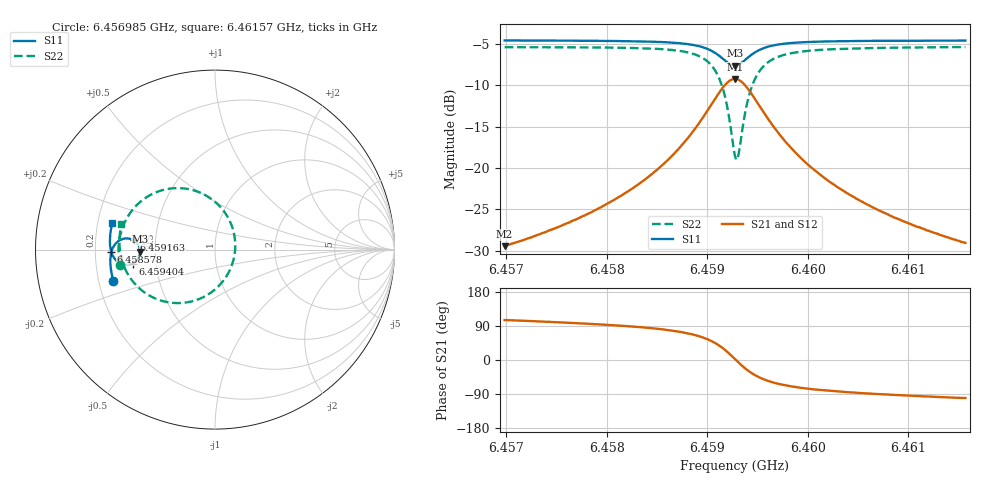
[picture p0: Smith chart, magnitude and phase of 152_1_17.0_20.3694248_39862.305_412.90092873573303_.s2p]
#  HZ  S  RI  R  50.00
! Rohde & Schwarz Vector Network Analyzer
! Rohde-Schwarz,ZNB20-2Port,1311601062101988,3.16
! Created: UTC 3/20/2024, 10:58:53 PM
! freq[Hz]  re:S11  im:S11  re:S21  im:S21  re:S12  im:S12  re:S22  im:S22
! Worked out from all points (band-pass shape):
!   401 points, 6.456985 GHz to 6.46157 GHz, reference 50 ohm
!   highest |S21| = -9.21 dB at 6.459278 GHz (marker M1); lowest = -29.4 dB at 6.456985 GHz (marker M2)
!   |S21| within 3 dB of the highest: 6.459048 GHz to 6.459507 GHz (458.9 kHz wide, 0.0071 % of centre)
!   lowest |S11| = -7.6 dB at 6.459278 GHz (marker M3), VSWR 2.43, Z = 20.6 - j0.58 ohm
!   |S11| at or under -10 dB: nowhere
!   |S22| runs from -19.0 to -5.3 dB; largest |S21 - S12| = 0.014
!   S11 on the Smith chart (normalised r, x): 6.456985 GHz: 0.26, -0.14; 6.458578 GHz: 0.27, -0.01; 6.459163 GHz: 0.37, +0.05; 6.459404 GHz: 0.37, -0.07; 6.46157 GHz: 0.26, +0.12
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6.456985e9  -0.5663 -0.173  -0.00896 0.0325  -0.0072 0.0325  -0.5321 -0.0852
6.457753e9  -0.5804 -0.1057  -0.00569 0.0505  -0.00316 0.05  -0.5377 0.00475
6.4581657e9  -0.5834 -0.0644  -0.00015 0.0694  0.00328 0.0681  -0.53 0.07
6.458521e9  -0.5796 -0.0219  0.0141 0.099  0.018 0.0964  -0.5043 0.1498
6.4585783e9  -0.5777 -0.014  0.0184 0.1059  0.0226 0.1029  -0.496 0.1664
6.4587847e9  -0.5647 0.0182  0.046 0.1386  0.0502 0.1337  -0.4444 0.2396
6.4589337e9  -0.5419 0.0445  0.0915 0.1693  0.0946 0.1626  -0.3607 0.304
6.4590712e9  -0.4979 0.0622  0.1791 0.186  0.1799 0.1786  -0.201 0.3427
6.4591629e9  -0.453 0.0518  0.2693 0.1545  0.2696 0.1486  -0.0342 0.2918
6.4592317e9  -0.4238 0.0195  0.33 0.0823  0.3319 0.077  0.0812 0.162
6.4592776e9  -0.4169 -0.0116  0.3462 0.0142  0.3499 0.0073  0.113 0.0347
6.459289e9  -0.4175 -0.0198  0.3459 -0.00364  0.3497 -0.0112  0.1126 0.00115
6.459312e9  -0.4209 -0.0355  0.3404 -0.0383  0.3443 -0.0474  0.1012 -0.0647
6.4593578e9  -0.4367 -0.0616  0.3117 -0.0983  0.3138 -0.1101  0.0432 -0.1774
6.4594037e9  -0.4589 -0.078  0.2695 -0.1396  0.2686 -0.1525  -0.0417 -0.252
6.4594954e9  -0.5023 -0.0849  0.1845 -0.1705  0.1786 -0.1819  -0.2105 -0.298
6.4596444e9  -0.5463 -0.0645  0.0968 -0.1567  0.0883 -0.1629  -0.3779 -0.2487
6.4598049e9  -0.568 -0.0369  0.0517 -0.1288  0.0441 -0.1315  -0.4582 -0.1768
6.4600456e9  -0.5809 -0.00137  0.0225 -0.0973  0.0168 -0.0979  -0.5063 -0.0945
6.4603895e9  -0.5856 0.0396  0.00652 -0.0705  0.00239 -0.07  -0.5279 -0.0155
6.4608136e9  -0.5838 0.0823  -0.00139 -0.0518  -0.0041 -0.0511  -0.5324 0.0525
6.4615702e9  -0.572 0.1493  -0.0063 -0.0348  -0.00816 -0.0336  -0.5211 0.142
